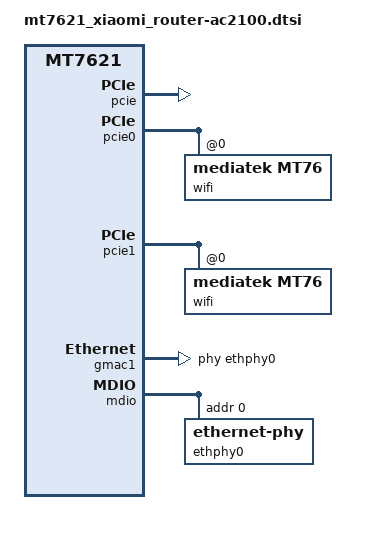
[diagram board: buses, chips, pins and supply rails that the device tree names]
// SPDX-License-Identifier: GPL-2.0-or-later OR MIT

#include "mt7621_xiaomi_nand_128m.dtsi"

/* override EEPROM size to 0x4da8 for MT7615 */
&eeprom_factory_8000 {
	reg = <0x8000 0x4da8>;
};

&pcie {
	status = "okay";
};

&pcie0 {
	wifi@0,0 {
		compatible = "mediatek,mt76";
		reg = <0x0000 0 0 0 0>;
		nvmem-cells = <&eeprom_factory_8000>;
		nvmem-cell-names = "eeprom";
		ieee80211-freq-limit = <5000000 6000000>;
	};
};

&pcie1 {
	wifi@0,0 {
		compatible = "mediatek,mt76";
		reg = <0x0000 0 0 0 0>;
		nvmem-cells = <&eeprom_factory_0>;
		nvmem-cell-names = "eeprom";
		ieee80211-freq-limit = <2400000 2500000>;
	};
};

&gmac0 {
	nvmem-cells = <&macaddr_factory_e000>;
	nvmem-cell-names = "mac-address";
};

&gmac1 {
	status = "okay";
	label = "wan";
	phy-handle = <&ethphy0>;

	nvmem-cells = <&macaddr_factory_e006>;
	nvmem-cell-names = "mac-address";
};

&mdio {
	ethphy0: ethernet-phy@0 {
		reg = <0>;
	};
};

&switch0 {
	ports {
		port@2 {
			status = "okay";
			label = "lan1";
		};

		port@3 {
			status = "okay";
			label = "lan2";
		};

		port@4 {
			status = "okay";
			label = "lan3";
		};
	};
};

&state_default {
	gpio {
		groups = "uart2", "uart3", "wdt";
		function = "gpio";
	};
};
